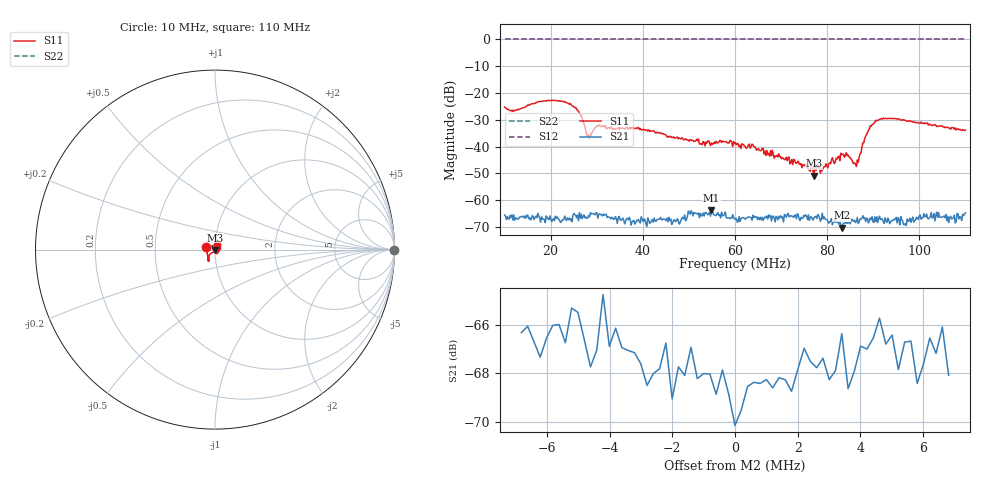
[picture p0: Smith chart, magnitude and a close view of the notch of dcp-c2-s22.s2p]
! Anritsu VNA Master:  Model: MS2034B/10/19/501
! SN:  1337062
! /bd0/ovro-jan-2016/dcp-c2-s22.s2p
! Existing Calibration Information:
! TYPE:  Current Settings,  Active Cal Settings
! TIME:  01/10/2016 06:04:51 PM,  01/10/2016 03:13:30 PM
! INTERNAL TEMP:  43.5 C,  45.8 C
! # POINTS:  500,  500
! START FREQ:  10.000 MHz,  10.000 MHz
! STOP FREQ:  110.000 MHz,  110.000 MHz
! SOURCE POWER:  Low,  Low
! IFBW:  100 Hz,  100 Hz
! AVG FACTOR:  3 ,  3
! REF PLANE 1:  2.2245 m,  2.2245 m
! REF PLANE 2:  0 mm,  0 mm
! CAL TYPE:  1P2P S11,S21,  1P2P S11,S21
! CAL METHOD:  SOLT,  SOLT
! CAL LINE TYPE:  Coax,  Coax
! DUT PORT 1:  K-Conn(M),  K-Conn(M)
! DUT PORT 2:  N-Conn(M),  N-Conn(M)
! CAL STATUS:  OK: Accuracy High,  --
# GHZ S DB R 50.0
! FREQ.GHZ  S11DB  S11A  S21DB  S21A  S12DB  S12A  S22DB  S22A
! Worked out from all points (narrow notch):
!   500 points, 10 MHz to 110 MHz, reference 50 ohm
!   highest |S21| = -63.65 dB at 54.89 MHz (marker M1); lowest = -70.2 dB at 83.15 MHz (marker M2)
!   notch at M2: 3.6 dB deep, 1.17 MHz wide at half that depth
!   lowest |S11| = -50.8 dB at 77.13 MHz (marker M3), VSWR 1.01, Z = 50.1 - j0.282 ohm
!   |S11| at or under -10 dB: start of sweep to end of sweep
!   |S22| runs from 0.0 to 0.0 dB; largest |S21 - S12| = 1
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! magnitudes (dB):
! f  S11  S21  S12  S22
! 10 MHz  -25.3  -65.4  0.0  0.0
! 22.22 MHz  -23.1  -68.2  0.0  0.0
! 25.23 MHz  -25.5  -65.3  0.0  0.0
! 26.83 MHz  -29.5  -66.8  0.0  0.0
! 28.24 MHz  -35.6  -65.7  0.0  0.0
! 30.44 MHz  -31.9  -65.3  0.0  0.0
! 37.86 MHz  -32.9  -67.7  0.0  0.0
! 43.47 MHz  -34.8  -67.0  0.0  0.0
! 47.88 MHz  -36.8  -68.8  0.0  0.0
! 50.28 MHz  -37.4  -65.1  0.0  0.0
! 54.89 MHz  -38.6  -63.7  0.0  0.0
! 60.1 MHz  -38.6  -66.8  0.0  0.0
! 76.73 MHz  -47.8  -66.7  0.0  0.0
! 77.13 MHz  -50.8  -66.6  0.0  0.0
! 83.15 MHz  -43.0  -70.2  0.0  0.0
! 86.35 MHz  -47.4  -67.9  0.0  0.0
! 89.36 MHz  -32.2  -66.6  0.0  0.0
! 93.37 MHz  -29.5  -67.3  0.0  0.0
! 96.77 MHz  -30.1  -69.1  0.0  0.0
! 104 MHz  -32.5  -66.3  0.0  0.0
! 107.6 MHz  -33.5  -65.5  0.0  0.0
! 110 MHz  -33.8  -64.7  0.0  0.0
